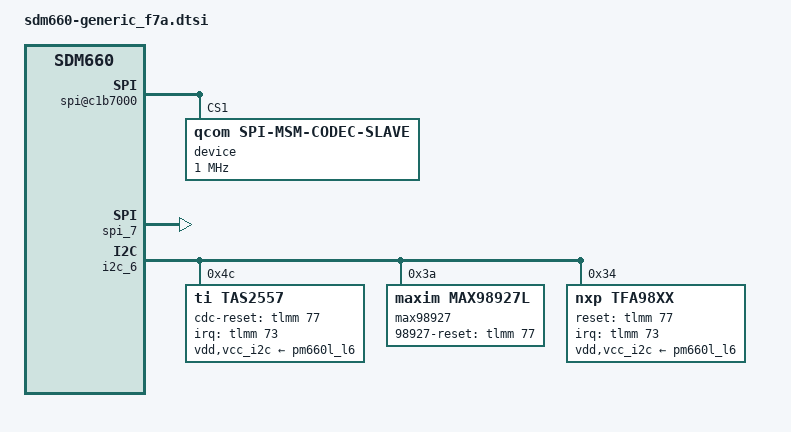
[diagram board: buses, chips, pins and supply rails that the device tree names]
/* Copyright (c) 2016-2018, The Linux Foundation. All rights reserved.
 * Copyright (C) 2021 XiaoMi, Inc.
 * Copyright (C) 2021 Erik Castricum
 *
 * This program is free software; you can redistribute it and/or modify
 * it under the terms of the GNU General Public License version 2 and
 * only version 2 as published by the Free Software Foundation.
 *
 * This program is distributed in the hope that it will be useful,
 * but WITHOUT ANY WARRANTY; without even the implied warranty of
 * MERCHANTABILITY or FITNESS FOR A PARTICULAR PURPOSE.  See the
 * GNU General Public License for more details.
 */

&soc {
	spi@c1b7000 { /* BLSP2 QUP3 */
		status = "ok";
                device@1 {
                        compatible = "qcom,spi-msm-codec-slave";
                        #address-cells = <1>;
                        #size-cells = <1>;
                        reg = <1>; /* Chip select 0 */
                        spi-max-frequency = <1000000>;
                        spi-cpol;
                };
	};

	qcom,csiphy@c824000 {
		qcom,clock-rates = <0 0 0 0 0 0 310000000 0 0 269333333 0
			0 269000000 0 0>;
	};

	qcom,csiphy@c826000 {
		qcom,clock-rates = <0 0 0 0 0 0 310000000 0 0 269333333 0
			0 269000000 0 0>;
	};
};

&spi_7 {
	status = "ok";
};

&int_codec {
	qcom,wsa-disable;
};

&i2c_6 { /* SmartPA TI */
	status = "okay";
	tas2557@4c {
		compatible = "ti,tas2557";
		reg = <0x4c>;
		#ti,load = <0>;   /* 0, 8Ohm; 1, 6Ohm; 2, 4Ohm */
		#ti,channel = <0>;   /* 0, left channel; 1, right channel */
		i2c-pull-up;
		vdd-supply = <&pm660l_l6>;
		vcc_i2c-supply = <&pm660l_l6>;
		ti,cdc-reset-gpio = <&tlmm 77 0>;
		ti,irq-gpio = <&tlmm 73 0>;
		ti,i2s-bits = <16>;
		status = "ok";
	};

	max98927@3a {
		compatible = "maxim,max98927L";
		status = "okay";
		reg = <0x3a>;
		mono_stereo_mode = <0>;
		interleave_mode = <0>;
		maxim,98927-reset-gpio = <&tlmm 77 0>;
	};

	tfa98xx@34 {
		compatible = "nxp,tfa98xx";
		reg = <0x34>;
		i2c-pull-up;
		vdd-supply = <&pm660l_l6>;
		vcc_i2c-supply = <&pm660l_l6>;
		reset-gpio = <&tlmm 77 0>;
		irq-gpio = <&tlmm 73 0>;
		status = "ok";
	};
};

&rpm_bus {
	rpm-regulator-ldoa16 {
		status = "okay";
		pm660_l16: regulator-l16 {
			regulator-min-microvolt = <2800000>;
			regulator-max-microvolt = <2800000>;
			status = "okay";
			regulator-always-on;
		};
	};

	rpm-regulator-ldob3 {
		pm660l_l3: regulator-l3 {
			regulator-always-on;
		};
	};
};

&slim_aud {
        status = "disabled";
};
